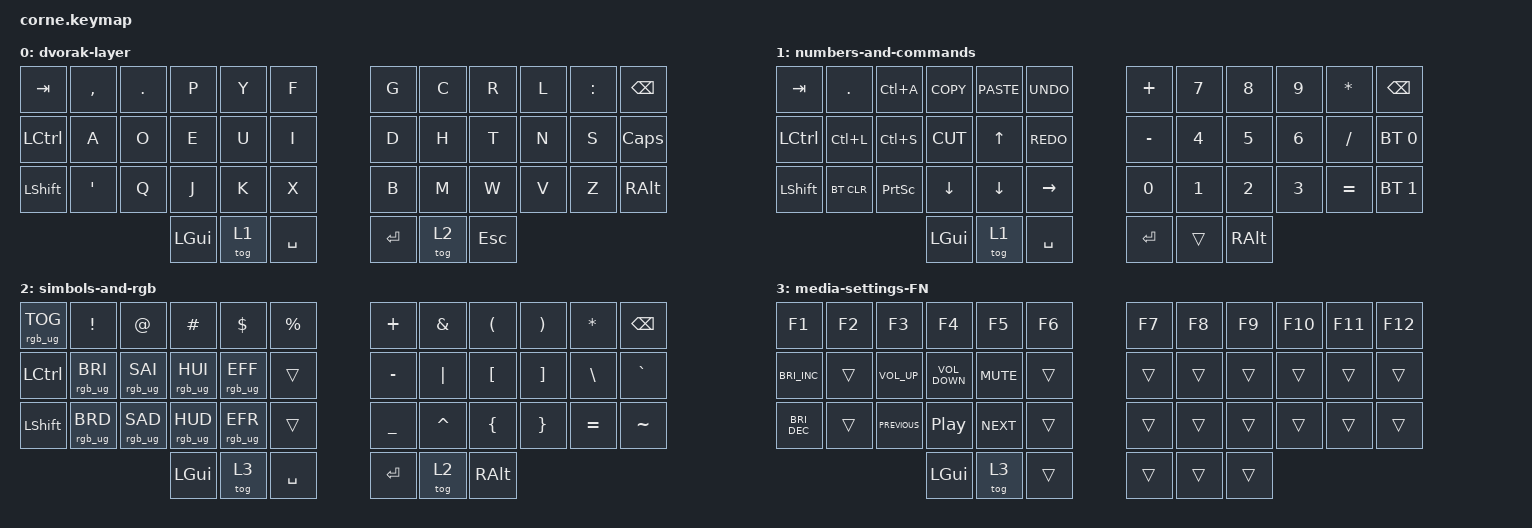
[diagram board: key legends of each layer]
/*
 * Copyright (c) 2020 The ZMK Contributors
 *
 * SPDX-License-Identifier: MIT
 */

#include <dt-bindings/led/led.h>
#include <behaviors.dtsi>
#include <dt-bindings/zmk/bt.h>
#include <dt-bindings/zmk/keys.h>
#include <dt-bindings/zmk/rgb.h>

&led_strip { chain-length = <27>; };

/ {
    keymap {
        compatible = "zmk,keymap";

        dvorak-layer {
            // -----------------------------------------------------------------------------------------
            // |  TAB |  Q  |  W  |  E  |  R  |  T  |   |  Y  |  U   |  I  |  O  |  P  | BSPC |
            // | CTRL |  A  |  S  |  D  |  F  |  G  |   |  H  |  J   |  K  |  L  |  ;  |  '   |
            // | SHFT |  Z  |  X  |  C  |  V  |  B  |   |  N  |  M   |  ,  |  .  |  /  | ESC  |
            //                    | GUI | LWR | SPC |   | ENT | RSE  | ALT |

            bindings = <
&kp TAB    &kp COMMA  &kp PERIOD  &kp P     &kp Y   &kp F        &kp G    &kp C   &kp R    &kp L  &kp COLON  &kp BSPC
&kp LCTRL  &kp A      &kp O       &kp E     &kp U   &kp I        &kp D    &kp H   &kp T    &kp N  &kp S      &kp CAPSLOCK
&kp LSHFT  &kp SQT    &kp Q       &kp J     &kp K   &kp X        &kp B    &kp M   &kp W    &kp V  &kp Z      &kp RALT
                                  &kp LGUI  &tog 1  &kp SPACE    &kp RET  &tog 2  &kp ESC
            >;
        };

        numbers-and-commands {
            // -----------------------------------------------------------------------------------------
            // |  TAB |  1  |  2  |  3  |  4  |  5  |   |  6  |  7  |  8  |  9  |  0  | BSPC |
            // | BTCLR| BT1 | BT2 | BT3 | BT4 | BT5 |   | LFT | DWN |  UP | RGT |     |      |
            // | SHFT |     |     |     |     |     |   |     |     |     |     |     |      |
            //                    | GUI |     | SPC |   | ENT |     | ALT |

            bindings = <
&kp TAB    &kp PERIOD  &kp LC(A)        &kp K_COPY  &kp K_PASTE  &kp K_UNDO    &kp PLUS   &kp N7        &kp N8        &kp N9        &kp ASTERISK  &kp BSPC
&kp LCTRL  &kp LC(L)   &kp LC(S)        &kp K_CUT   &kp UP       &kp K_REDO    &kp MINUS  &kp NUMBER_4  &kp N5        &kp NUMBER_6  &kp SLASH     &bt BT_SEL 0
&kp LSHFT  &bt BT_CLR  &kp PRINTSCREEN  &kp DOWN    &kp DOWN     &kp RIGHT     &kp N0     &kp NUMBER_1  &kp NUMBER_2  &kp NUMBER_3  &kp EQUAL     &bt BT_SEL 1
                                        &kp LGUI    &tog 1       &kp SPACE     &kp RET    &trans        &kp RALT
            >;
        };

        simbols-and-rgb {
            // -----------------------------------------------------------------------------------------
            // |rgb tog|  !  |  @  |  #  |  $  |  %  |   |  ^  |  &  |  *  |  (  |  )  | BSPC |
            // | CTRL |RGB BRI+ |RGB SAT+ |RGB HUE+ |RGB ANI+ |     |   |  -  |  =  |  [  |  ]  |  \  |  `   |
            // | SHFT |RGB BRI- |RGB SAT- |RGB HUE- |RGB ANI- |     |   |  _  |  +  |  {  |  }  | "|" |  ~   |
            //                    | GUI |     | SPC |   | ENT |     | ALT |

            bindings = <
&rgb_ug RGB_TOG  &kp EXCL         &kp AT           &kp HASH         &kp DLLR         &kp PRCNT    &kp PLUS   &kp AMPS   &kp LEFT_PARENTHESIS  &kp RIGHT_PARENTHESIS  &kp ASTERISK  &kp BSPC
&kp LCTRL        &rgb_ug RGB_BRI  &rgb_ug RGB_SAI  &rgb_ug RGB_HUI  &rgb_ug RGB_EFF  &trans       &kp MINUS  &kp PIPE   &kp LBKT              &kp RBKT               &kp BSLH      &kp GRAVE
&kp LSHFT        &rgb_ug RGB_BRD  &rgb_ug RGB_SAD  &rgb_ug RGB_HUD  &rgb_ug RGB_EFR  &trans       &kp UNDER  &kp CARET  &kp LBRC              &kp RBRC               &kp EQUAL     &kp TILDE
                                                   &kp LGUI         &tog 3           &kp SPACE    &kp RET    &tog 2     &kp RALT
            >;
        };

        media-settings-FN {
            bindings = <
&kp F1                &kp F2  &kp F3           &kp F4             &kp F5      &kp F6    &kp F7  &kp F8  &kp F9  &kp F10  &kp F11  &kp F12
&kp C_BRIGHTNESS_INC  &trans  &kp C_VOLUME_UP  &kp C_VOLUME_DOWN  &kp C_MUTE  &trans    &trans  &trans  &trans  &trans   &trans   &trans
&kp C_BRIGHTNESS_DEC  &trans  &kp C_PREVIOUS   &kp C_PLAY_PAUSE   &kp C_NEXT  &trans    &trans  &trans  &trans  &trans   &trans   &trans
                                               &kp LGUI           &tog 3      &trans    &trans  &trans  &trans
            >;
        };
    };
};
